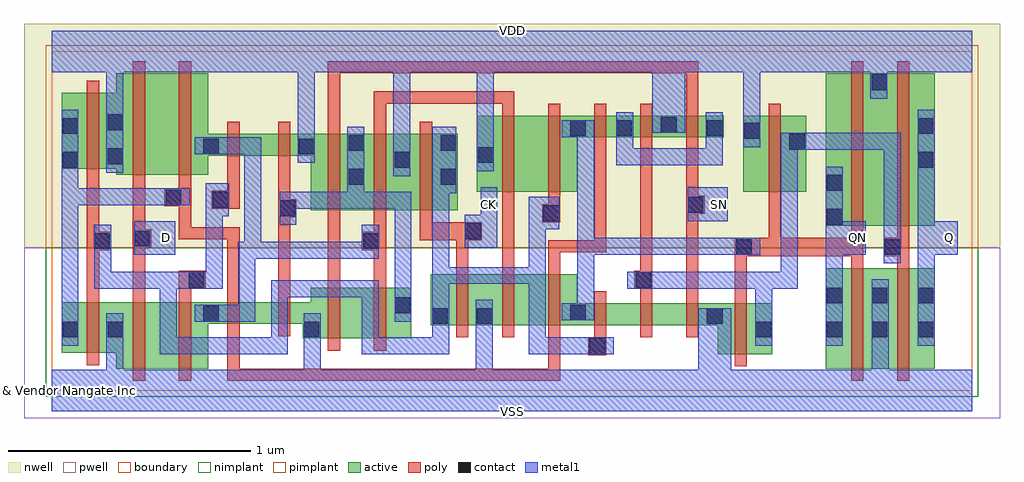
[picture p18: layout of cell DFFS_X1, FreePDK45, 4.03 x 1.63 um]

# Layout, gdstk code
import gdstk
lib = gdstk.Library(unit=1e-6, precision=1e-10)
def R(c, l, rs):  # rectangles x0, y0, x1, y1
    for r in rs: c.add(gdstk.rectangle(r[:2], r[2:], *l))
def P(c, l, *ps):  # polygons
    for p in ps: c.add(gdstk.Polygon(p, *l))
active = (1, 0)
pwell = (2, 0)
nwell = (3, 0)
nimplant = (4, 0)
pimplant = (5, 0)
poly = (9, 0)
contact = (10, 0)
metal1 = (11, 0)
boundary = (235, 0)

dffs_x1 = lib.new_cell('DFFS_X1')
R(dffs_x1, active, [(3.195,0.09,3.645,0.505), (3.195,0.68,3.645,1.31), (2.855,0.82,3.115,1.135)])
P(dffs_x1, active, [(0.265,0.09),(0.265,0.155),(0.04,0.155),(0.04,0.365),(1.07,0.365),(1.07,0.425),(1.485,0.425),(1.485,0.215),(1.035,0.215),(1.035,0.275),(0.645,0.275),(0.645,0.09)],
  [(1.07,0.745),(1.07,0.97),(0.645,0.97),(0.645,0.89),(0.265,0.89),(0.265,0.915),(0.04,0.915),(0.04,1.23),(0.265,1.23),(0.265,1.31),(0.645,1.31),(0.645,1.06),(1.675,1.06),(1.675,0.745)],
  [(1.755,0.82),(1.755,1.135),(2.775,1.135),(2.775,1.045),(2.17,1.045),(2.17,0.82)],
  [(2.75,0.15),(2.75,0.27),(1.565,0.27),(1.565,0.48),(2.17,0.48),(2.17,0.36),(2.975,0.36),(2.975,0.15)])
R(dffs_x1, pwell, [(-0.115,-0.115,3.915,0.59)])
R(dffs_x1, nwell, [(-0.115,0.59,3.915,1.515)])
R(dffs_x1, nimplant, [(-0.025,-0.025,3.825,0.59)])
R(dffs_x1, pimplant, [(-0.025,0.59,3.825,1.425)])
P(dffs_x1, poly, [(0.145,0.105),(0.145,1.28),(0.195,1.28),(0.195,0.655),(0.245,0.655),(0.245,0.58),(0.195,0.58),(0.195,0.105)],
  [(0.335,0.04),(0.335,1.36),(0.385,1.36),(0.385,0.665),(0.41,0.665),(0.41,0.59),(0.385,0.59),(0.385,0.04)],
  [(0.525,0.04),(0.525,0.495),(0.635,0.495),(0.635,0.42),(0.575,0.42),(0.575,0.04)],
  [(0.66,0.75),(0.66,0.825),(0.725,0.825),(0.725,1.11),(0.775,1.11),(0.775,0.75)],
  [(0.935,0.225),(0.935,1.11),(0.985,1.11),(0.985,0.79),(1.01,0.79),(1.01,0.715),(0.985,0.715),(0.985,0.225)],
  [(1.67,0.22),(1.67,0.62),(1.52,0.62),(1.52,1.11),(1.57,1.11),(1.57,0.695),(1.775,0.695),(1.775,0.62),(1.72,0.62),(1.72,0.22)],
  [(1.33,0.165),(1.33,0.58),(1.28,0.58),(1.28,0.655),(1.33,0.655),(1.33,1.235),(1.91,1.235),(1.91,0.22),(1.86,0.22),(1.86,1.185),(1.38,1.185),(1.38,0.165)],
  [(2.025,0.695),(2.025,0.77),(2.05,0.77),(2.05,1.185),(2.1,1.185),(2.1,0.695)],
  [(2.215,0.145),(2.215,0.22),(2.24,0.22),(2.24,0.41),(2.29,0.41),(2.29,0.145)],
  [(0.725,0.04),(0.725,0.625),(0.525,0.625),(0.525,0.76),(0.465,0.76),(0.465,0.835),(0.525,0.835),(0.525,1.36),(0.575,1.36),(0.575,0.675),(0.775,0.675),(0.775,0.09),(2.05,0.09),(2.05,0.62),(2.24,0.62),(2.24,1.185),(2.29,1.185),(2.29,0.57),(2.1,0.57),(2.1,0.04)],
  [(2.43,0.22),(2.43,0.42),(2.405,0.42),(2.405,0.495),(2.43,0.495),(2.43,1.185),(2.48,1.185),(2.48,0.22)],
  [(1.14,0.165),(1.14,1.36),(2.67,1.36),(2.67,0.805),(2.695,0.805),(2.695,0.73),(2.67,0.73),(2.67,0.22),(2.62,0.22),(2.62,1.31),(1.19,1.31),(1.19,0.165)],
  [(3.3,0.04),(3.3,0.555),(2.87,0.555),(2.87,0.1),(2.82,0.1),(2.82,0.63),(2.96,0.63),(2.96,1.185),(3.01,1.185),(3.01,0.63),(3.3,0.63),(3.3,1.36),(3.35,1.36),(3.35,0.04)],
  [(3.49,0.04),(3.49,0.555),(3.435,0.555),(3.435,0.63),(3.49,0.63),(3.49,1.36),(3.54,1.36),(3.54,0.04)])
R(dffs_x1, contact, [(2.22,0.15,2.285,0.215), (0.045,0.22,0.11,0.285), (0.23,0.22,0.295,0.285), (1.04,0.22,1.105,0.285), (2.905,0.22,2.97,0.285), (3.2,0.22,3.265,0.285), (3.385,0.22,3.45,0.285), (3.575,0.22,3.64,0.285), (1.57,0.275,1.635,0.34), (1.755,0.275,1.82,0.34), (2.705,0.275,2.77,0.34), (0.625,0.285,0.69,0.35), (2.14,0.29,2.205,0.355), (1.415,0.32,1.48,0.385), (3.2,0.36,3.265,0.425), (3.385,0.36,3.45,0.425), (3.575,0.36,3.64,0.425), (0.565,0.425,0.63,0.49), (2.41,0.425,2.475,0.49), (2.825,0.56,2.89,0.625), (3.44,0.56,3.505,0.625), (0.175,0.585,0.24,0.65), (1.285,0.585,1.35,0.65), (0.34,0.595,0.405,0.66), (1.705,0.625,1.77,0.69), (3.2,0.685,3.265,0.75), (2.03,0.7,2.095,0.765), (0.94,0.72,1.005,0.785), (2.625,0.735,2.69,0.8), (0.665,0.755,0.73,0.82), (0.47,0.765,0.535,0.83), (3.2,0.825,3.265,0.89), (1.225,0.85,1.29,0.915), (1.605,0.85,1.67,0.915), (0.045,0.92,0.11,0.985), (1.415,0.92,1.48,0.985), (3.575,0.92,3.64,0.985), (0.23,0.935,0.295,1), (1.76,0.94,1.825,1.005), (0.625,0.975,0.69,1.04), (1.02,0.975,1.085,1.04), (1.225,0.99,1.29,1.055), (1.605,0.99,1.67,1.055), (3.045,0.995,3.11,1.06), (2.86,1.04,2.925,1.105), (2.14,1.05,2.205,1.115), (2.33,1.05,2.395,1.115), (2.705,1.05,2.77,1.115), (0.045,1.06,0.11,1.125), (3.575,1.06,3.64,1.125), (2.515,1.065,2.58,1.13), (0.23,1.075,0.295,1.14), (3.385,1.24,3.45,1.305)])
R(dffs_x1, metal1, [(0.34,0.56,0.51,0.7), (2.625,0.7,2.79,0.84)])
P(dffs_x1, metal1, [(0.04,0.185),(0.04,1.16),(0.11,1.16),(0.11,0.835),(0.57,0.835),(0.57,0.765),(0.11,0.765),(0.11,0.185)],
  [(0.59,0.285),(0.59,0.355),(0.77,0.355),(0.77,0.615),(0.795,0.615),(0.795,0.975),(0.59,0.975),(0.59,1.045),(0.865,1.045),(0.865,0.615),(1.28,0.615),(1.28,0.685),(1.35,0.685),(1.35,0.545),(0.84,0.545),(0.84,0.285)],
  [(1.415,0.285),(1.415,0.75),(1.01,0.75),(1.01,0.685),(0.94,0.685),(0.94,0.82),(1.22,0.82),(1.22,1.09),(1.29,1.09),(1.29,0.82),(1.485,0.82),(1.485,0.285)],
  [(1.705,0.59),(1.705,0.725),(1.77,0.725),(1.77,0.84),(1.84,0.84),(1.84,0.59)],
  [(0.445,0.15),(0.445,0.42),(0.175,0.42),(0.175,0.685),(0.245,0.685),(0.245,0.49),(0.635,0.49),(0.635,0.855),(0.73,0.855),(0.73,0.72),(0.705,0.72),(0.705,0.42),(0.515,0.42),(0.515,0.22),(0.905,0.22),(0.905,0.455),(1.35,0.455),(1.35,0.22),(1.57,0.22),(1.57,1.09),(1.67,1.09),(1.67,0.815),(1.64,0.815),(1.64,0.51),(1.97,0.51),(1.97,0.8),(2.095,0.8),(2.095,0.665),(2.04,0.665),(2.04,0.22),(2.32,0.22),(2.32,0.15),(1.97,0.15),(1.97,0.44),(1.64,0.44),(1.64,0.15),(1.28,0.15),(1.28,0.385),(0.975,0.385),(0.975,0.15)],
  [(2.33,0.93),(2.33,1.15),(2.4,1.15),(2.4,1),(2.7,1),(2.7,1.15),(2.77,1.15),(2.77,0.93)],
  [(2.105,0.29),(2.105,0.36),(2.17,0.36),(2.17,1.045),(2.105,1.045),(2.105,1.115),(2.24,1.115),(2.24,0.63),(2.925,0.63),(2.925,0.56),(2.24,0.56),(2.24,0.29)],
  [(3.195,0.185),(3.195,0.925),(3.265,0.925),(3.265,0.7),(3.36,0.7),(3.36,0.56),(3.265,0.56),(3.265,0.185)],
  [(2.905,0.185),(2.905,0.42),(2.375,0.42),(2.375,0.49),(3.01,0.49),(3.01,1.065),(3.505,1.065),(3.505,0.525),(3.435,0.525),(3.435,0.995),(3.08,0.995),(3.08,0.42),(2.975,0.42),(2.975,0.185)],
  [(3.575,0.185),(3.575,1.16),(3.645,1.16),(3.645,0.7),(3.74,0.7),(3.74,0.56),(3.645,0.56),(3.645,0.185)],
  [(0,-0.085),(0,0.085),(0.225,0.085),(0.225,0.32),(0.295,0.32),(0.295,0.085),(1.04,0.085),(1.04,0.32),(1.11,0.32),(1.11,0.085),(1.75,0.085),(1.75,0.375),(1.82,0.375),(1.82,0.085),(2.67,0.085),(2.67,0.34),(2.805,0.34),(2.805,0.085),(3.385,0.085),(3.385,0.46),(3.455,0.46),(3.455,0.085),(3.8,0.085),(3.8,-0.085)],
  [(1.41,0.885),(1.41,1.315),(1.085,1.315),(1.085,0.94),(1.015,0.94),(1.015,1.315),(0.295,1.315),(0.295,0.9),(0.225,0.9),(0.225,1.315),(0,1.315),(0,1.485),(3.8,1.485),(3.8,1.315),(3.45,1.315),(3.45,1.205),(3.38,1.205),(3.38,1.315),(2.925,1.315),(2.925,1.005),(2.855,1.005),(2.855,1.315),(2.615,1.315),(2.615,1.065),(2.48,1.065),(2.48,1.315),(1.825,1.315),(1.825,0.905),(1.755,0.905),(1.755,1.315),(1.48,1.315),(1.48,0.885)])
R(dffs_x1, boundary, [(0,0,3.8,1.4)])
dffs_x1.add(gdstk.Label('CK', (1.805,0.77), layer=11, texttype=0))
dffs_x1.add(gdstk.Label('D', (0.475,0.63), layer=11, texttype=0))
dffs_x1.add(gdstk.Label('Q', (3.705,0.63), layer=11, texttype=0))
dffs_x1.add(gdstk.Label('QN', (3.325,0.63), layer=11, texttype=0))
dffs_x1.add(gdstk.Label('SN', (2.755,0.77), layer=11, texttype=0))
dffs_x1.add(gdstk.Label('VDD', (1.9,1.485), layer=11, texttype=0))
dffs_x1.add(gdstk.Label('VSS', (1.9,-0.085), layer=11, texttype=0))
dffs_x1.add(gdstk.Label('& Vendor Nangate Inc', (0,0), layer=63, texttype=63))
dffs_x1.add(gdstk.Label('& Product Open Cell Library', (0,0), layer=63, texttype=63))
dffs_x1.add(gdstk.Label('& Version 2010_12', (0,0), layer=63, texttype=63))
dffs_x1.add(gdstk.Label('& Instance DFFS_X1', (0,0), layer=63, texttype=63))

lib.write_gds('DFFS_X1.gds')
